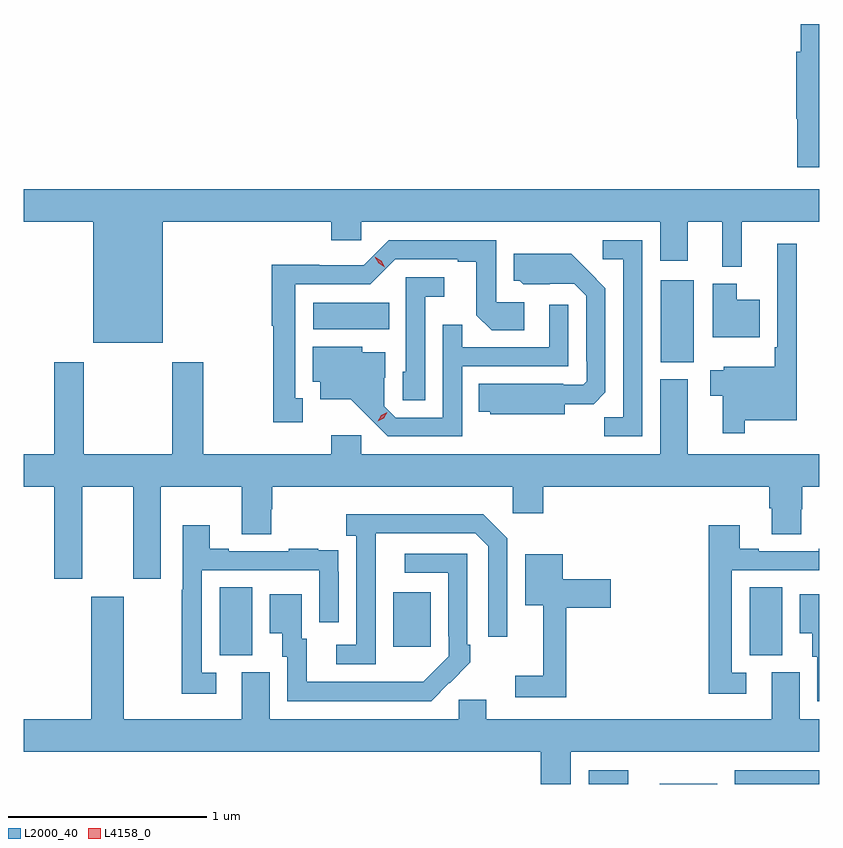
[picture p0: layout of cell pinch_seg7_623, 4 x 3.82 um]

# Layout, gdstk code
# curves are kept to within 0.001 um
import gdstk
lib = gdstk.Library(unit=1e-6, precision=1e-09)
def R(c, l, rs):  # rectangles x0, y0, x1, y1
    for r in rs: c.add(gdstk.rectangle(r[:2], r[2:], *l))
def P(c, l, *ps):  # polygons
    for p in ps: c.add(gdstk.Polygon(p, *l))
L2000_40 = (2000, 40)
L4158_0 = (4158, 0)

pinch_seg7_623 = lib.new_cell('pinch_seg7_623')
R(pinch_seg7_623, L2000_40, [(115.005,1021.767,115.204,1021.836), (115.74,1021.767,116.165,1021.836), (113.15,1022.413,113.314,1022.756), (115.814,1022.413,115.978,1022.756), (114.023,1022.457,114.211,1022.731), (115.367,1023.887,115.534,1024.3), (113.622,1024.052,114.002,1024.186)])
P(pinch_seg7_623, L2000_40, [(116.165,1025.587),(116.072,1025.587),(116.072,1025.448),(116.048,1025.448),(116.048,1025.112),(116.053,1025.112),(116.053,1024.866),(116.165,1024.866)],
  [(112.864,1024.592),(113.711,1024.592),(113.711,1024.499),(113.862,1024.499),(113.862,1024.592),(115.364,1024.592),(115.364,1024.398),(115.504,1024.398),(115.504,1024.592),(115.676,1024.592),(115.676,1024.367),(115.775,1024.367),(115.775,1024.592),(116.165,1024.592),(116.165,1024.756),(112.165,1024.756),(112.165,1024.592),(112.514,1024.592),(112.514,1023.986),(112.864,1023.986)],
  [(113.569,1023.705),(113.53,1023.705),(113.53,1024.278),(113.907,1024.278),(114.033,1024.404),(114.347,1024.404),(114.347,1024.392),(114.441,1024.392),(114.441,1024.124),(114.517,1024.048),(114.682,1024.048),(114.682,1024.188),(114.54,1024.188),(114.54,1024.5),(114,1024.5),(113.874,1024.374),(113.652,1024.374),(113.652,1024.376),(113.412,1024.376),(113.412,1024.071),(113.419,1024.071),(113.419,1023.585),(113.569,1023.585)],
  [(115.275,1024.5),(115.077,1024.5),(115.077,1024.404),(115.179,1024.404),(115.179,1023.611),(115.084,1023.611),(115.084,1023.516),(115.275,1023.516)],
  [(115.789,1023.596),(116.05,1023.596),(116.05,1024.483),(115.953,1024.483),(115.953,1023.961),(115.941,1023.961),(115.941,1023.865),(115.683,1023.865),(115.683,1023.847),(115.616,1023.847),(115.616,1023.718),(115.679,1023.718),(115.679,1023.531),(115.789,1023.531)],
  [(114.886,1023.677),(115.03,1023.677),(115.089,1023.736),(115.089,1024.258),(114.917,1024.432),(114.629,1024.432),(114.629,1024.296),(114.66,1024.296),(114.676,1024.28),(114.933,1024.281),(114.993,1024.221),(114.993,1023.892),(114.996,1023.892),(114.996,1023.792),(114.978,1023.774),(114.878,1023.774),(114.878,1023.778),(114.454,1023.778),(114.454,1023.638),(114.51,1023.638),(114.51,1023.626),(114.886,1023.626)],
  [(114.183,1024.217),(114.28,1024.217),(114.28,1024.314),(114.087,1024.314),(114.087,1023.84),(114.072,1023.84),(114.072,1023.697),(114.183,1023.697)],
  [(115.864,1024.201),(115.75,1024.201),(115.75,1024.282),(115.628,1024.282),(115.628,1024.013),(115.864,1024.013)],
  [(114.369,1023.867),(114.903,1023.867),(114.903,1024.177),(114.807,1024.177),(114.807,1023.963),(114.371,1023.963),(114.371,1024.076),(114.273,1024.076),(114.273,1023.609),(114.036,1023.609),(113.979,1023.666),(113.979,1023.808),(113.983,1023.808),(113.983,1023.937),(113.868,1023.937),(113.868,1023.964),(113.618,1023.964),(113.618,1023.788),(113.657,1023.788),(113.657,1023.701),(113.809,1023.701),(113.996,1023.516),(114.369,1023.516)],
  [(112.459,1023.26),(112.715,1023.26),(112.715,1022.799),(112.855,1022.799),(112.855,1023.26),(113.261,1023.26),(113.261,1023.022),(113.409,1023.022),(113.409,1023.147),(113.414,1023.147),(113.414,1023.26),(114.624,1023.26),(114.624,1023.129),(114.776,1023.129),(114.776,1023.26),(115.913,1023.26),(115.913,1023.154),(115.925,1023.154),(115.925,1023.022),(116.073,1023.022),(116.073,1023.147),(116.078,1023.147),(116.078,1023.26),(116.165,1023.26),(116.165,1023.424),(115.504,1023.424),(115.504,1023.802),(115.364,1023.802),(115.364,1023.424),(113.862,1023.424),(113.862,1023.52),(113.711,1023.52),(113.711,1023.424),(113.067,1023.424),(113.067,1023.886),(112.912,1023.886),(112.912,1023.424),(112.467,1023.424),(112.467,1023.886),(112.319,1023.886),(112.319,1023.424),(112.165,1023.424),(112.165,1023.26),(112.319,1023.26),(112.319,1022.799),(112.459,1022.799)],
  [(113.934,1022.827),(113.935,1023.027),(114.435,1023.027),(114.501,1022.961),(114.501,1022.508),(114.597,1022.508),(114.597,1023.003),(114.476,1023.124),(113.787,1023.124),(113.787,1023.014),(113.838,1023.014),(113.838,1022.466),(113.736,1022.466),(113.736,1022.37),(113.934,1022.37)],
  [(115.798,1022.325),(115.725,1022.325),(115.725,1022.841),(116.165,1022.841),(116.165,1022.95),(116.161,1022.95),(116.161,1022.937),(115.861,1022.937),(115.861,1022.95),(115.765,1022.95),(115.765,1023.067),(115.609,1023.067),(115.609,1022.22),(115.798,1022.22)],
  [(113.134,1022.325),(113.061,1022.325),(113.061,1022.841),(113.652,1022.841),(113.652,1022.58),(113.748,1022.58),(113.748,1022.834),(113.747,1022.834),(113.747,1022.943),(113.645,1022.943),(113.645,1022.95),(113.497,1022.95),(113.497,1022.937),(113.197,1022.937),(113.197,1022.95),(113.101,1022.95),(113.101,1023.067),(112.965,1023.067),(112.965,1022.744),(112.96,1022.744),(112.96,1022.22),(113.134,1022.22)],
  [(114.305,1022.275),(114.306,1022.274),(114.411,1022.379),(114.411,1022.467),(114.396,1022.467),(114.396,1022.925),(114.081,1022.925),(114.081,1022.829),(114.3,1022.829),(114.3,1022.509),(114.303,1022.509),(114.303,1022.409),(114.175,1022.281),(113.587,1022.28),(113.587,1022.496),(113.563,1022.496),(113.563,1022.722),(113.402,1022.722),(113.402,1022.525),(113.465,1022.525),(113.465,1022.406),(113.49,1022.406),(113.49,1022.184),(114.214,1022.184)],
  [(114.893,1022.654),(115.117,1022.654),(115.117,1022.796),(114.874,1022.796),(114.874,1022.923),(114.686,1022.923),(114.686,1022.666),(114.776,1022.666),(114.776,1022.311),(114.636,1022.311),(114.636,1022.202),(114.893,1022.202)],
  [(116.165,1022.722),(116.066,1022.722),(116.066,1022.525),(116.129,1022.525),(116.129,1022.406),(116.154,1022.406),(116.154,1022.184),(116.165,1022.184)],
  [(114.916,1021.928),(116.165,1021.928),(116.165,1022.092),(116.065,1022.092),(116.065,1022.328),(115.925,1022.328),(115.925,1022.092),(114.49,1022.092),(114.49,1022.19),(114.351,1022.19),(114.351,1022.092),(113.401,1022.092),(113.401,1022.328),(113.261,1022.328),(113.261,1022.092),(112.669,1022.092),(112.669,1022.707),(112.505,1022.707),(112.505,1022.092),(112.165,1022.092),(112.165,1021.928),(114.764,1021.928),(114.764,1021.767),(114.916,1021.767)],
  [(115.651,1021.768),(115.363,1021.768),(115.362,1021.767),(115.651,1021.767)])
P(pinch_seg7_623, L4158_0, [(113.945,1023.59),(113.945,1023.59),(113.963,1023.62),(113.994,1023.636),(113.994,1023.636),(113.994,1023.635),(113.976,1023.606),(113.945,1023.59)],
  [(113.98,1024.365),(113.949,1024.384),(113.931,1024.416),(113.931,1024.417),(113.931,1024.417),(113.963,1024.398),(113.981,1024.365),(113.981,1024.365)])

lib.write_gds('pinch_seg7_623.gds')
